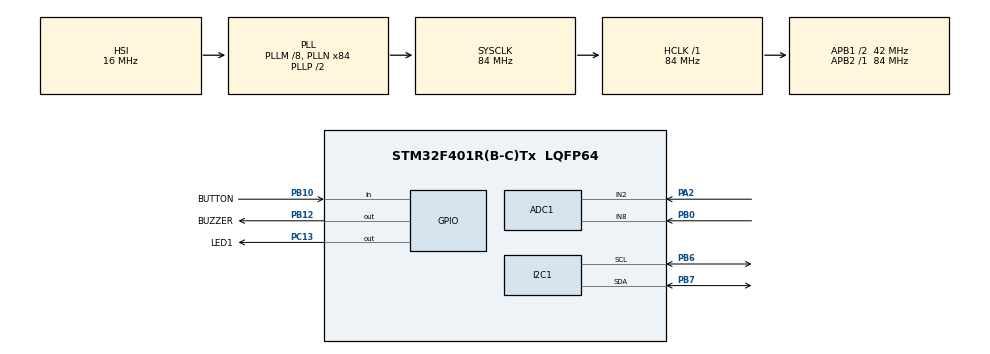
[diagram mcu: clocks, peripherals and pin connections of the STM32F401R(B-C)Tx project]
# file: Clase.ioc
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ADC1.Channel-1\#ChannelRegularConversion=ADC_CHANNEL_2
ADC1.Channel-8\#ChannelRegularConversion=ADC_CHANNEL_8
ADC1.DMAContinuousRequests=ENABLE
ADC1.DiscontinuousConvMode=ENABLE
ADC1.EOCSelection=ADC_EOC_SEQ_CONV
ADC1.NbrOfConversion=2
ADC1.NbrOfConversionFlag=1
ADC1.NbrOfDiscConversion=2
ADC1.Rank-8\#ChannelRegularConversion=2
ADC1.SamplingTime-1\#ChannelRegularConversion=ADC_SAMPLETIME_15CYCLES
ADC1.SamplingTime-8\#ChannelRegularConversion=ADC_SAMPLETIME_15CYCLES
ADC1.master=1
Dma.ADC1.0.Direction=DMA_PERIPH_TO_MEMORY
Dma.ADC1.0.FIFOMode=DMA_FIFOMODE_DISABLE
Dma.ADC1.0.Instance=DMA2_Stream0
Dma.ADC1.0.MemDataAlignment=DMA_MDATAALIGN_HALFWORD
Dma.ADC1.0.MemInc=DMA_MINC_ENABLE
Dma.ADC1.0.Mode=DMA_CIRCULAR
Dma.ADC1.0.PeriphDataAlignment=DMA_PDATAALIGN_HALFWORD
Dma.ADC1.0.PeriphInc=DMA_PINC_DISABLE
Dma.ADC1.0.Priority=DMA_PRIORITY_LOW
Dma.Request0=ADC1
I2C1.I2C_Mode=I2C_Fast
Mcu.Family=STM32F4
Mcu.Name=STM32F401R(B-C)Tx
Mcu.Package=LQFP64
NVIC.DMA2_Stream0_IRQn=true\:0\:0\:false\:false\:true\:false\:true\:true
NVIC.PriorityGroup=NVIC_PRIORITYGROUP_4
PA2.GPIO_Mode=GPIO_MODE_ANALOG
PA2.GPIO_PuPd=GPIO_NOPULL
PA2.Signal=ADCx_IN2
PB0.GPIO_Mode=GPIO_MODE_ANALOG
PB0.GPIO_PuPd=GPIO_NOPULL
PB0.Signal=ADCx_IN8
PB10.GPIO_Label=BUTTON
PB10.Signal=GPIO_Input
PB12.GPIO_Label=BUZZER
PB12.Signal=GPIO_Output
PB6.Mode=I2C
PB6.Signal=I2C1_SCL
PB7.Mode=I2C
PB7.Signal=I2C1_SDA
PC13-ANTI_TAMP.GPIO_Label=LED1
PC13-ANTI_TAMP.GPIO_ModeDefaultOutputPP=GPIO_MODE_OUTPUT_PP
PC13-ANTI_TAMP.GPIO_PuPd=GPIO_NOPULL
PC13-ANTI_TAMP.PinState=GPIO_PIN_SET
PC13-ANTI_TAMP.Signal=GPIO_Output
ProjectManager.HeapSize=0x200
ProjectManager.StackSize=0x400
ProjectManager.TargetToolchain=STM32CubeIDE
RCC.48MHZClocksFreq_Value=42000000
RCC.AHBFreq_Value=84000000
RCC.APB1CLKDivider=RCC_HCLK_DIV2
RCC.APB1Freq_Value=42000000
RCC.APB1TimFreq_Value=84000000
RCC.APB2Freq_Value=84000000
RCC.APB2TimFreq_Value=84000000
RCC.CortexFreq_Value=84000000
RCC.HCLKFreq_Value=84000000
RCC.HSE_VALUE=25000000
RCC.HSI_VALUE=16000000
RCC.LSE_VALUE=32768
RCC.PLLM=8
RCC.PLLN=84
RCC.SYSCLKFreq_VALUE=84000000
RCC.SYSCLKSource=RCC_SYSCLKSOURCE_PLLCLK
RCC.VCOOutputFreq_Value=168000000
SH.ADCx_IN2.0=ADC1_IN2,IN2
SH.ADCx_IN8.0=ADC1_IN8,IN8
board=custom

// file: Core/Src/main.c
/* USER CODE BEGIN Header */
/**
  ******************************************************************************
  * @file           : main.c
  * @brief          : Main program body
  ******************************************************************************
  * @attention
  *
  * Copyright (c) 2025 STMicroelectronics.
  * All rights reserved.
  *
  * This software is licensed under terms that can be found in the LICENSE file
  * in the root directory of this software component.
  * If no LICENSE file comes with this software, it is provided AS-IS.
  *
  ******************************************************************************
  */
/* USER CODE END Header */
#include "main.h"

/* USER CODE BEGIN Includes */

#include "AppTypes.h"
#include "RTOS.h"
#include "SH1106.h"

/* USER CODE END Includes */

/* USER CODE BEGIN PTD */

typedef enum{
	Pantalla_principal = 0,
	Juego
}ESTADO_JUEGO;

/* USER CODE END PTD */

ADC_HandleTypeDef hadc1;
DMA_HandleTypeDef hdma_adc1;

I2C_HandleTypeDef hi2c1;

/* USER CODE BEGIN PV */

TaskControlBlock_t TcbTarea1;
u32 StackTarea1[RTOS_MIN_STACK_SIZE * 8];
TaskControlBlock_t TcbTarea2;
u32 StackTarea2[RTOS_MIN_STACK_SIZE * 2];
TaskControlBlock_t TcbTarea3;
u32 StackTarea3[RTOS_MIN_STACK_SIZE * 2];
TaskControlBlock_t TcbTarea4;
u32 StackTarea4[RTOS_MIN_STACK_SIZE];
//SemaphoreHandler_t Semaforo;
EventHandler_t Event;
MutexHandler_t Mutex;

//u8 MsgPool[MSG_GET_POOL_SIXE(sizeof(u32),2)];
//MessageHandler_t Msg;
/* USER CODE END PV */

void SystemClock_Config(void);
static void MX_GPIO_Init(void);
static void MX_DMA_Init(void);
static void MX_I2C1_Init(void);
static void MX_ADC1_Init(void);

/* USER CODE BEGIN 0 */
void Tarea1(void);
void Tarea2(void);
void Tarea3(void);
void Tarea4(void);

uint32_t playery;

ESTADO_JUEGO est_jue = Pantalla_principal;
/* USER CODE END 0 */

int main(void)
{

  /* MCU Configuration--------------------------------------------------------*/

  /* Reset of all peripherals, Initializes the Flash interface and the Systick. */
  HAL_Init();

  /* Configure the system clock */
  SystemClock_Config();

  /* Initialize all configured peripherals */
  MX_GPIO_Init();
  MX_DMA_Init();
  MX_I2C1_Init();
  MX_ADC1_Init();
  /* USER CODE BEGIN 2 */
  RTOS_Init();
  RTOS_CreateTask(&TcbTarea1, "Actualizar pantalla",1,2,StackTarea1,RTOS_MIN_STACK_SIZE * 8,Tarea1);
  RTOS_CreateTask(&TcbTarea2, "Tomar valor i/o",2,1,StackTarea2,RTOS_MIN_STACK_SIZE * 2,Tarea2);
  RTOS_CreateTask(&TcbTarea3, "GameLogic",3,3,StackTarea3,RTOS_MIN_STACK_SIZE * 2,Tarea3);
  RTOS_CreateTask(&TcbTarea4, "Sonido", 4,4,StackTarea4,RTOS_MIN_STACK_SIZE * 2, Tarea4);
  //Semaphore_Init(&Semaforo,5,0);
  //Message_Init(&Msg, &MsgPool, sizeof(u32), 2);
  Events_Init(&Event);
  Mutex_Init(&Mutex);
  //Mutex_Init(&Mutex2);

  RTOS_Start();

  /* USER CODE END 2 */

  /* Infinite loop */
  while (1)
  {

  }
}

void SystemClock_Config(void)
{
  RCC_OscInitTypeDef RCC_OscInitStruct = {0};
  RCC_ClkInitTypeDef RCC_ClkInitStruct = {0};

  /** Configure the main internal regulator output voltage
  */
  __HAL_RCC_PWR_CLK_ENABLE();
  __HAL_PWR_VOLTAGESCALING_CONFIG(PWR_REGULATOR_VOLTAGE_SCALE2);

  /** Initializes the RCC Oscillators according to the specified parameters
  * in the RCC_OscInitTypeDef structure.
  */
  RCC_OscInitStruct.OscillatorType = RCC_OSCILLATORTYPE_HSI;
  RCC_OscInitStruct.HSIState = RCC_HSI_ON;
  RCC_OscInitStruct.HSICalibrationValue = RCC_HSICALIBRATION_DEFAULT;
  RCC_OscInitStruct.PLL.PLLState = RCC_PLL_ON;
  RCC_OscInitStruct.PLL.PLLSource = RCC_PLLSOURCE_HSI;
  RCC_OscInitStruct.PLL.PLLM = 8;
  RCC_OscInitStruct.PLL.PLLN = 84;
  RCC_OscInitStruct.PLL.PLLP = RCC_PLLP_DIV2;
  RCC_OscInitStruct.PLL.PLLQ = 4;
  if (HAL_RCC_OscConfig(&RCC_OscInitStruct) != HAL_OK)
  {
    Error_Handler();
  }

  /** Initializes the CPU, AHB and APB buses clocks
  */
  RCC_ClkInitStruct.ClockType = RCC_CLOCKTYPE_HCLK|RCC_CLOCKTYPE_SYSCLK
                              |RCC_CLOCKTYPE_PCLK1|RCC_CLOCKTYPE_PCLK2;
  RCC_ClkInitStruct.SYSCLKSource = RCC_SYSCLKSOURCE_PLLCLK;
  RCC_ClkInitStruct.AHBCLKDivider = RCC_SYSCLK_DIV1;
  RCC_ClkInitStruct.APB1CLKDivider = RCC_HCLK_DIV2;
  RCC_ClkInitStruct.APB2CLKDivider = RCC_HCLK_DIV1;

  if (HAL_RCC_ClockConfig(&RCC_ClkInitStruct, FLASH_LATENCY_2) != HAL_OK)
  {
    Error_Handler();
  }
}

static void MX_ADC1_Init(void)
{

  ADC_ChannelConfTypeDef sConfig = {0};

  /** Configure the global features of the ADC (Clock, Resolution, Data Alignment and number of conversion)
  */
  hadc1.Instance = ADC1;
  hadc1.Init.ClockPrescaler = ADC_CLOCK_SYNC_PCLK_DIV4;
  hadc1.Init.Resolution = ADC_RESOLUTION_12B;
  hadc1.Init.ScanConvMode = ENABLE;
  hadc1.Init.ContinuousConvMode = DISABLE;
  hadc1.Init.DiscontinuousConvMode = ENABLE;
  hadc1.Init.NbrOfDiscConversion = 2;
  hadc1.Init.ExternalTrigConvEdge = ADC_EXTERNALTRIGCONVEDGE_NONE;
  hadc1.Init.ExternalTrigConv = ADC_SOFTWARE_START;
  hadc1.Init.DataAlign = ADC_DATAALIGN_RIGHT;
  hadc1.Init.NbrOfConversion = 2;
  hadc1.Init.DMAContinuousRequests = ENABLE;
  hadc1.Init.EOCSelection = ADC_EOC_SEQ_CONV;
  if (HAL_ADC_Init(&hadc1) != HAL_OK)
  {
    Error_Handler();
  }

  /** Configure for the selected ADC regular channel its corresponding rank in the sequencer and its sample time.
  */
  sConfig.Channel = ADC_CHANNEL_2;
  sConfig.Rank = 1;
  sConfig.SamplingTime = ADC_SAMPLETIME_15CYCLES;
  if (HAL_ADC_ConfigChannel(&hadc1, &sConfig) != HAL_OK)
  {
    Error_Handler();
  }

  /** Configure for the selected ADC regular channel its corresponding rank in the sequencer and its sample time.
  */
  sConfig.Channel = ADC_CHANNEL_8;
  sConfig.Rank = 2;
  if (HAL_ADC_ConfigChannel(&hadc1, &sConfig) != HAL_OK)
  {
    Error_Handler();
  }

}

static void MX_I2C1_Init(void)
{

  hi2c1.Instance = I2C1;
  hi2c1.Init.ClockSpeed = 400000;
  hi2c1.Init.DutyCycle = I2C_DUTYCYCLE_2;
  hi2c1.Init.OwnAddress1 = 0;
  hi2c1.Init.AddressingMode = I2C_ADDRESSINGMODE_7BIT;
  hi2c1.Init.DualAddressMode = I2C_DUALADDRESS_DISABLE;
  hi2c1.Init.OwnAddress2 = 0;
  hi2c1.Init.GeneralCallMode = I2C_GENERALCALL_DISABLE;
  hi2c1.Init.NoStretchMode = I2C_NOSTRETCH_DISABLE;
  if (HAL_I2C_Init(&hi2c1) != HAL_OK)
  {
    Error_Handler();
  }

}

static void MX_DMA_Init(void)
{

  /* DMA controller clock enable */
  __HAL_RCC_DMA2_CLK_ENABLE();

  /* DMA interrupt init */
  /* DMA2_Stream0_IRQn interrupt configuration */
  HAL_NVIC_SetPriority(DMA2_Stream0_IRQn, 0, 0);
  HAL_NVIC_EnableIRQ(DMA2_Stream0_IRQn);

}

static void MX_GPIO_Init(void)
{
  GPIO_InitTypeDef GPIO_InitStruct = {0};

  /* GPIO Ports Clock Enable */
  __HAL_RCC_GPIOC_CLK_ENABLE();
  __HAL_RCC_GPIOA_CLK_ENABLE();
  __HAL_RCC_GPIOB_CLK_ENABLE();

  /*Configure GPIO pin Output Level */
  HAL_GPIO_WritePin(LED1_GPIO_Port, LED1_Pin, GPIO_PIN_SET);

  /*Configure GPIO pin Output Level */
  HAL_GPIO_WritePin(BUZZER_GPIO_Port, BUZZER_Pin, GPIO_PIN_RESET);

  /*Configure GPIO pin : LED1_Pin */
  GPIO_InitStruct.Pin = LED1_Pin;
  GPIO_InitStruct.Mode = GPIO_MODE_OUTPUT_PP;
  GPIO_InitStruct.Pull = GPIO_NOPULL;
  GPIO_InitStruct.Speed = GPIO_SPEED_FREQ_LOW;
  HAL_GPIO_Init(LED1_GPIO_Port, &GPIO_InitStruct);

  /*Configure GPIO pin : BUTTON_Pin */
  GPIO_InitStruct.Pin = BUTTON_Pin;
  GPIO_InitStruct.Mode = GPIO_MODE_INPUT;
  GPIO_InitStruct.Pull = GPIO_NOPULL;
  HAL_GPIO_Init(BUTTON_GPIO_Port, &GPIO_InitStruct);

  /*Configure GPIO pin : BUZZER_Pin */
  GPIO_InitStruct.Pin = BUZZER_Pin;
  GPIO_InitStruct.Mode = GPIO_MODE_OUTPUT_PP;
  GPIO_InitStruct.Pull = GPIO_NOPULL;
  GPIO_InitStruct.Speed = GPIO_SPEED_FREQ_LOW;
  HAL_GPIO_Init(BUZZER_GPIO_Port, &GPIO_InitStruct);

}

/* USER CODE BEGIN 4 */

void Tarea1(void){

	  SH1106_Init();
	  SH1106_Clear();
	  SH1106_UpdateScreen();
	while(1){
		SH1106_Clear();
		if(Mutex_Take(&Mutex) == MUTEX_OK){
			// Dibujar jugadores
			DrawPlayers();
			//	Dibujar pelota
			DrawPong();
			// Dibujar texto explicativo en caso de que no se este jugando
			if(est_jue == Pantalla_principal){
				DrawText();
				ResetScore();
			}
			//Dibujar Score de los jugadores
			DrawScore();
			SH1106_UpdateScreen();
			Mutex_Give(&Mutex);
			RTOS_Delay(1);
		}
	}
}

void Tarea2(void){
	GPIO_PinState Boton;
	while(1){
		// Leer el primer canal y segundo canal
		// Dependiendo de los instantes
		if(Mutex_Take(&Mutex) == MUTEX_OK){
			Boton = HAL_GPIO_ReadPin(BUTTON_GPIO_Port, BUTTON_Pin);
			if(Boton == GPIO_PIN_SET){
				est_jue = !est_jue;
				RTOS_Delay(100);
			}
			HAL_ADC_Start_DMA(&hadc1, &playery, 2);
			RTOS_Delay(5);
			HAL_ADC_Stop_DMA(&hadc1);
			Mutex_Give(&Mutex);
			RTOS_Delay(10);
		}
	}
}

void Tarea3(void){
	Status_Pong Estado_juego;
	while(1){
		if(Mutex_Take(&Mutex) == MUTEX_OK){
			UpdateHeadPlayer1(playery);
			UpdateHeadPlayer2(playery);
			if(est_jue == Juego){
				Estado_juego = PongMovement();
			}else{
				PongReset();
			}
			if(Estado_juego == GOL){
				Mutex_Give(&Mutex);
				RTOS_Delay(1000);
			}else{
				Mutex_Give(&Mutex);
				RTOS_Delay(1);
			}
		}
	}
}

void Tarea4(void){
	while(1){
		if(Events_WaitAny(&Event, (EVENT_GOL | EVENT_PLAYER_COLLISION | EVENT_WALL_COLLISION)) == EVENT_OK){
			EventType_t Eventos = 0;
			if(Events_Get(&Event, &Eventos) == EVENT_OK){
				if(Eventos & EVENT_PLAYER_COLLISION){
					Events_Clear(&Event, EVENT_PLAYER_COLLISION);
					HAL_GPIO_WritePin(BUZZER_GPIO_Port, BUZZER_Pin, GPIO_PIN_SET);
					RTOS_Delay(30);
					HAL_GPIO_WritePin(BUZZER_GPIO_Port, BUZZER_Pin, GPIO_PIN_RESET);
				}
				if(Eventos & EVENT_WALL_COLLISION){
					Events_Clear(&Event, EVENT_WALL_COLLISION);
					HAL_GPIO_WritePin(BUZZER_GPIO_Port, BUZZER_Pin, GPIO_PIN_SET);
					RTOS_Delay(20);
					HAL_GPIO_WritePin(BUZZER_GPIO_Port, BUZZER_Pin, GPIO_PIN_RESET);
				}
				if(Eventos & EVENT_GOL){
					Events_Clear(&Event, EVENT_GOL);
					HAL_GPIO_WritePin(BUZZER_GPIO_Port, BUZZER_Pin, GPIO_PIN_SET);
					RTOS_Delay(500);
					HAL_GPIO_WritePin(BUZZER_GPIO_Port, BUZZER_Pin, GPIO_PIN_RESET);
				}
			}
		}
		RTOS_Delay(1);
	}
}

/* USER CODE END 4 */

void Error_Handler(void)
{
  __disable_irq();
  while (1)
  {
  }
}
